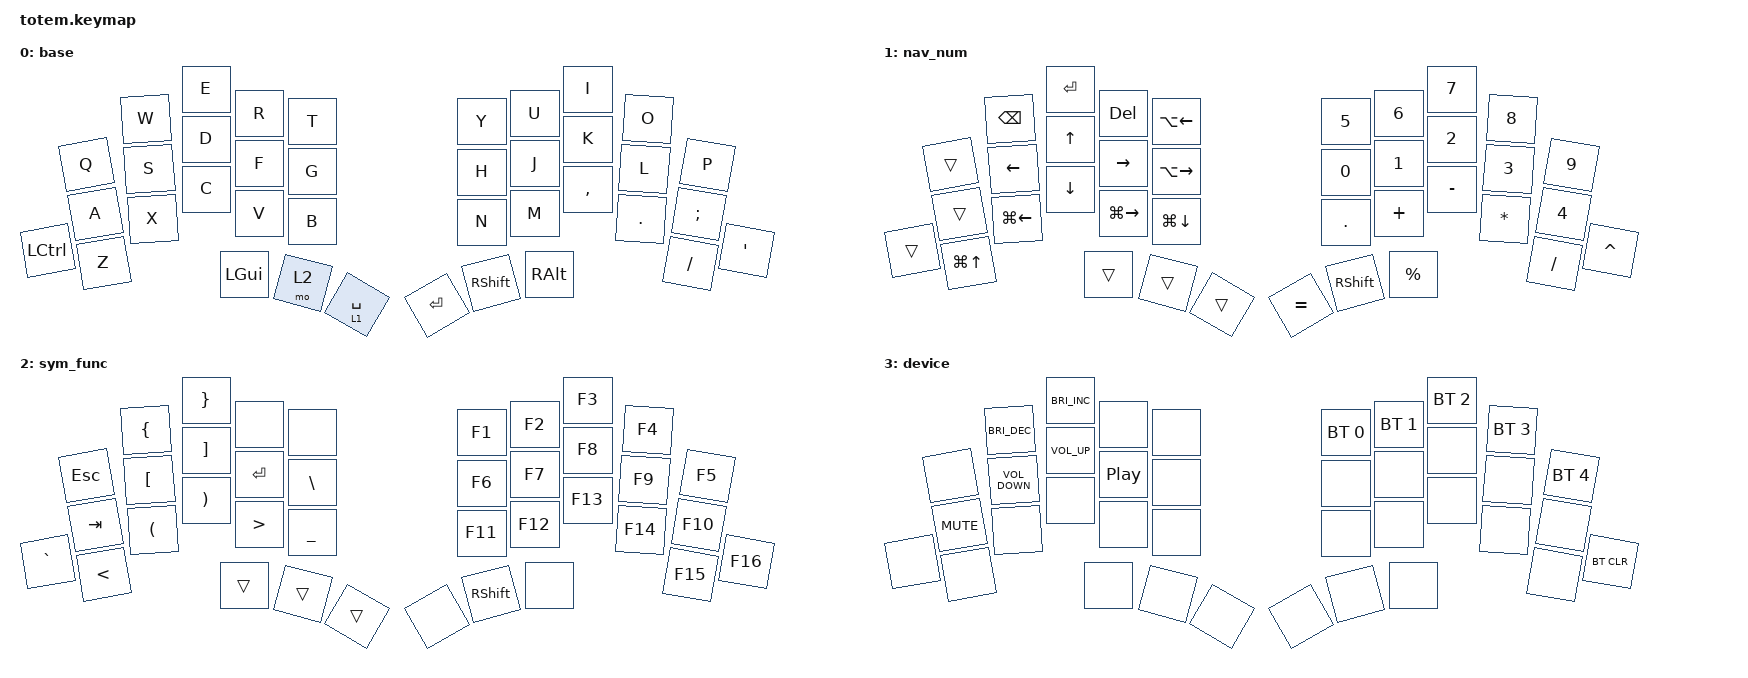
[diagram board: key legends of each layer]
//
//                                                        ▀▀▀▀▀     ▀▀▀▀▀          ▀▀█▀▀
//                                                        ▄▀▀▀▄  ▄  ▄▀▀▀▄  ▄  ▄▀▀▀▄  █  ▄▀▀▀▄
//                                                        █   █  █  █   █  █  █   █  █  █   █
//                                                         ▀▀▀   █   ▀▀▀   █   ▀▀▀   ▀   ▀▀▀
//                                                               █      ▄▄▄█▄▄▄    █   █  
//                                                               ▀      █  █  █     █▄█
//                                                             ▀▀▀▀▀    █  █  █      ▀
//                                                                      ▀  ▀  ▀
//
// ▄▄▄▄▄▄▄▄▄▄▄▄▄▄▄▄▄▄▄▄▄▄▄▄▄▄▄▄▄▄▄▄▄▄▄▄▄▄▄▄▄▄▄▄▄▄▄▄▄▄▄▄▄▄▄▄▄▄▄▄▄▄▄▄▄▄▄▄▄▄▄▄▄▄▄▄▄▄▄▄▄▄▄▄▄▄▄▄▄▄▄▄▄▄▄▄▄▄▄▄▄▄▄▄▄▄▄▄▄▄▄▄▄▄▄▄▄▄▄▄▄▄▄▄▄▄▄▄▄▄▄▄▄▄▄▄▄▄▄▄▄▄▄▄▄▄▄▄▄

#include <behaviors.dtsi>
#include <dt-bindings/zmk/bt.h>
#include <dt-bindings/zmk/keys.h>

/ {
    behaviors {
        long_press: long_press {
            compatible = "zmk,behavior-hold-tap";
            label = "LONG_PRESS";
            #binding-cells = <2>;
            tapping-term-ms = <350>;
            flavor = "tap-preferred";
            bindings = <&mo>, <&kp>;
        };
    };

    keymap {
        compatible = "zmk,keymap";

        base {
            bindings = <
           &kp Q  &kp W  &kp E     &kp R  &kp T                  &kp Y      &kp U            &kp I          &kp O    &kp P
           &kp A  &kp S  &kp D     &kp F  &kp G                  &kp H      &kp J            &kp K          &kp L    &kp SEMI
&kp LCTRL  &kp Z  &kp X  &kp C     &kp V  &kp B                  &kp N      &kp M            &kp COMMA      &kp DOT  &kp FSLH  &kp APOS
                         &kp LGUI  &mo 2  &long_press 1 SPACE    &kp ENTER  &kp RIGHT_SHIFT  &kp RIGHT_ALT
            >;
        };

        nav_num {
            bindings = <
        &trans            &kp BACKSPACE  &kp ENTER     &kp DELETE     &kp LA(LEFT)          &kp N5      &kp N6           &kp N7       &kp N8    &kp N9
        &trans            &kp LEFT       &kp UP_ARROW  &kp RIGHT      &kp LA(RIGHT)         &kp N0      &kp N1           &kp N2       &kp N3    &kp N4
&trans  &kp LG(UP_ARROW)  &kp LG(LEFT)   &kp DOWN      &kp LG(RIGHT)  &kp LG(DOWN_ARROW)    &kp PERIOD  &kp PLUS         &kp MINUS    &kp STAR  &kp FSLH  &kp CARET
                                         &trans        &trans         &trans                &kp EQUAL   &kp RIGHT_SHIFT  &kp PERCENT
            >;
        };

        sym_func {
            bindings = <
           &kp ESC        &kp LEFT_BRACE        &kp RIGHT_BRACE        &none             &none             &kp F1   &kp F2           &kp F3   &kp F4   &kp F5
           &kp TAB        &kp LBKT              &kp RBKT               &kp ENTER         &kp BSLH          &kp F6   &kp F7           &kp F8   &kp F9   &kp F10
&kp GRAVE  &kp LESS_THAN  &kp LEFT_PARENTHESIS  &kp RIGHT_PARENTHESIS  &kp GREATER_THAN  &kp UNDERSCORE    &kp F11  &kp F12          &kp F13  &kp F14  &kp F15  &kp F16
                                                &trans                 &trans            &trans            &none    &kp RIGHT_SHIFT  &none
            >;
        };

        device {
            bindings = <
       &none       &kp C_BRIGHTNESS_DEC  &kp C_BRIGHTNESS_INC  &none             &none    &bt BT_SEL 0  &bt BT_SEL 1  &bt BT_SEL 2  &bt BT_SEL 3  &bt BT_SEL 4
       &kp K_MUTE  &kp C_VOLUME_DOWN     &kp C_VOLUME_UP       &kp C_PLAY_PAUSE  &none    &none         &none         &none         &none         &none
&none  &none       &none                 &none                 &none             &none    &none         &none         &none         &none         &none         &bt BT_CLR
                                         &none                 &none             &none    &none         &none         &none
            >;
        };

        extra1 { status = "reserved"; };

        extra2 { status = "reserved"; };

        extra3 { status = "reserved"; };
    };

    conditional_layers {
        compatible = "zmk,conditional-layers";

        device {
            if-layers = <1 2>;
            then-layer = <3>;
        };
    };
};
